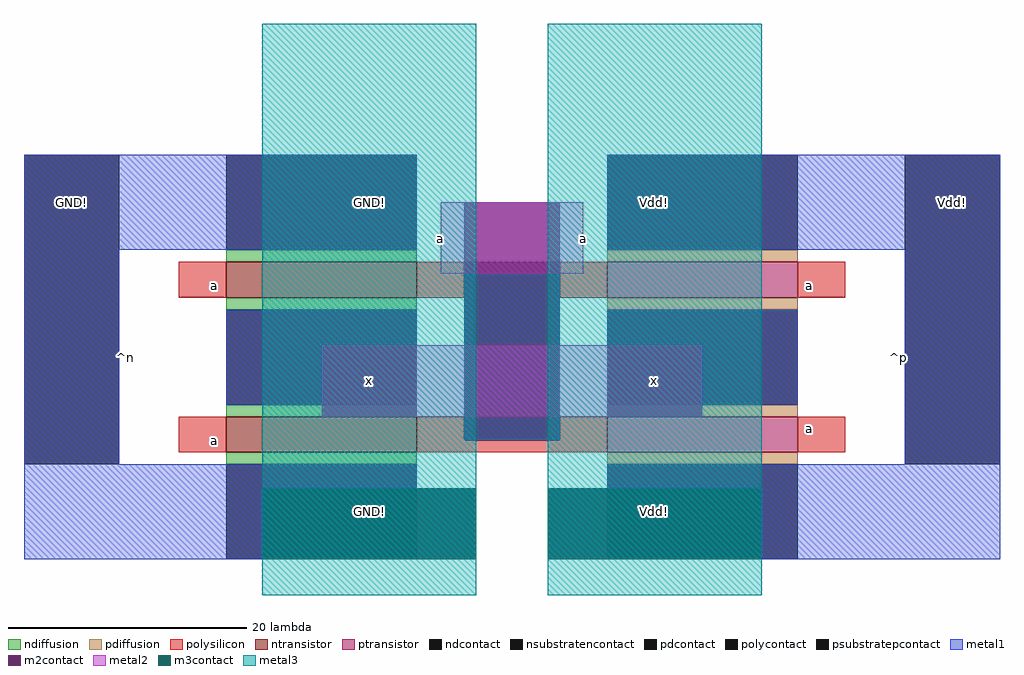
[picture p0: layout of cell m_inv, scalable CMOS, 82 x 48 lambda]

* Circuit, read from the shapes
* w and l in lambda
.subckt m_inv GND! Vdd! a x
M1 x a GND! GND! nfet w=16 l=3 m=2
M2 x a Vdd! Vdd! pfet w=16 l=3 m=2
.ends

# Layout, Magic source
magic
tech scmos
<< ndiffusion >>
rect -24 559 -8 560
rect -24 555 -8 556
rect -24 546 -8 547
rect -24 542 -8 543
<< pdiffusion >>
rect 8 559 24 560
rect 8 555 24 556
rect 8 546 24 547
rect 8 542 24 543
<< ntransistor >>
rect -24 556 -8 559
rect -24 543 -8 546
<< ptransistor >>
rect 8 556 24 559
rect 8 543 24 546
<< polysilicon >>
rect -28 556 -24 559
rect -8 556 -4 559
rect -28 543 -24 546
rect -8 544 -4 546
rect 4 556 8 559
rect 24 556 28 559
rect 4 544 8 546
rect -8 543 8 544
rect 24 543 28 546
<< ndcontact >>
rect -24 560 -8 568
rect -24 547 -8 555
rect -24 534 -8 542
<< pdcontact >>
rect 8 560 24 568
rect 8 547 24 555
rect 8 534 24 542
<< psubstratepcontact >>
rect -41 542 -33 568
<< nsubstratencontact >>
rect 33 542 41 568
<< polycontact >>
rect -4 544 4 559
<< metal1 >>
rect -41 560 -8 568
rect -41 542 -33 560
rect 8 560 41 568
rect -24 552 -8 555
rect -24 547 -16 552
rect -4 544 4 558
rect 8 552 24 555
rect 16 547 24 552
rect 33 542 41 560
rect -41 540 -8 542
rect 8 540 41 542
rect -41 534 -21 540
rect 21 534 41 540
<< m2contact >>
rect -4 558 4 564
rect -16 546 -8 552
rect 8 546 16 552
rect -21 534 -3 540
rect 3 534 21 540
<< metal2 >>
rect -6 558 6 564
rect -16 546 16 552
<< m3contact >>
rect -21 534 -3 540
rect 3 534 21 540
<< metal3 >>
rect -21 531 -3 579
rect 3 531 21 579
<< labels >>
rlabel ndcontact -12 538 -12 538 1 GND!
rlabel pdcontact 12 538 12 538 1 Vdd!
rlabel pdcontact 12 564 12 564 5 Vdd!
rlabel ndcontact -12 564 -12 564 5 GND!
rlabel polysilicon -25 557 -25 557 3 a
rlabel polysilicon -25 544 -25 544 3 a
rlabel metal2 6 558 6 564 7 a
rlabel metal2 -6 558 -6 564 3 a
rlabel polysilicon 25 557 25 557 7 a
rlabel polysilicon 25 545 25 545 7 a
rlabel metal2 -12 549 -12 549 1 x
rlabel metal2 12 549 12 549 1 x
rlabel metal1 37 564 37 564 7 Vdd!
rlabel space 23 533 42 569 3 ^p
rlabel metal1 -37 564 -37 564 3 GND!
rlabel space -42 533 -23 569 7 ^n
<< end >>
